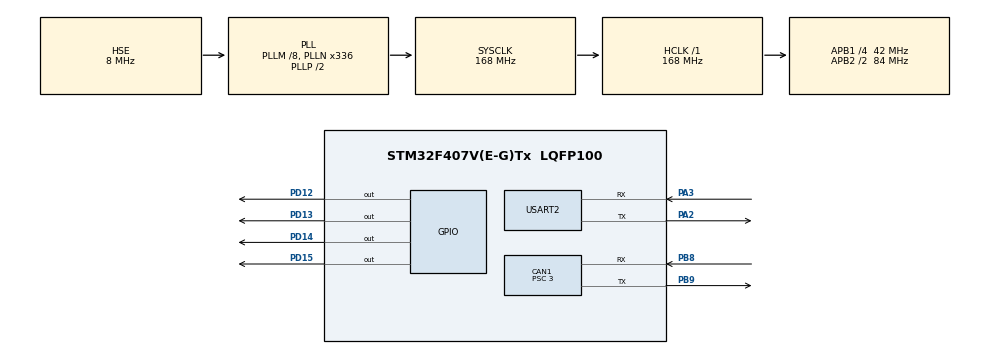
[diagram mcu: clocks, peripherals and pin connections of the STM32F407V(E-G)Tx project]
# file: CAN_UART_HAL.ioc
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CAN1.BS1=CAN_BS1_11TQ
CAN1.BS2=CAN_BS2_2TQ
CAN1.CalculateBaudRate=1000000
CAN1.CalculateTimeBit=1000
CAN1.CalculateTimeQuantum=71.42857142857143
CAN1.NART=ENABLE
CAN1.Prescaler=3
Mcu.Family=STM32F4
Mcu.Name=STM32F407V(E-G)Tx
Mcu.Package=LQFP100
NVIC.CAN1_RX0_IRQn=true\:0\:2\:false\:false\:true\:true\:true
NVIC.PriorityGroup=NVIC_PRIORITYGROUP_0
NVIC.USART2_IRQn=true\:0\:0\:false\:false\:true\:true\:true
PA2.Mode=Asynchronous
PA2.Signal=USART2_TX
PA3.Mode=Asynchronous
PA3.Signal=USART2_RX
PB8.Mode=CAN_Activate
PB8.Signal=CAN1_RX
PB9.Mode=CAN_Activate
PB9.Signal=CAN1_TX
PD12.Signal=GPIO_Output
PD13.Signal=GPIO_Output
PD14.Signal=GPIO_Output
PD15.Signal=GPIO_Output
PH0-OSC_IN.Mode=HSE-External-Oscillator
PH0-OSC_IN.Signal=RCC_OSC_IN
PH1-OSC_OUT.Mode=HSE-External-Oscillator
PH1-OSC_OUT.Signal=RCC_OSC_OUT
ProjectManager.HeapSize=0x200
ProjectManager.StackSize=0x400
ProjectManager.TargetToolchain=MDK-ARM V5
RCC.48MHZClocksFreq_Value=48000000
RCC.AHBFreq_Value=168000000
RCC.APB1CLKDivider=RCC_HCLK_DIV4
RCC.APB1Freq_Value=42000000
RCC.APB1TimFreq_Value=84000000
RCC.APB2CLKDivider=RCC_HCLK_DIV2
RCC.APB2Freq_Value=84000000
RCC.APB2TimFreq_Value=168000000
RCC.CortexFreq_Value=168000000
RCC.HCLKFreq_Value=168000000
RCC.HSE_VALUE=8000000
RCC.HSI_VALUE=16000000
RCC.LSE_VALUE=32768
RCC.PLLM=8
RCC.PLLN=336
RCC.PLLQ=7
RCC.PLLSourceVirtual=RCC_PLLSOURCE_HSE
RCC.SYSCLKFreq_VALUE=168000000
RCC.SYSCLKSource=RCC_SYSCLKSOURCE_PLLCLK
RCC.VCOOutputFreq_Value=336000000
USART2.VirtualMode=VM_ASYNC
board=STM32F407G-DISC1

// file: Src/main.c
/* USER CODE BEGIN Header */
/**
  ******************************************************************************
  * @file           : main.c
  * @brief          : Main program body
  ******************************************************************************
  * @attention
  *
  * <h2><center>&copy; Copyright (c) 2021 STMicroelectronics.
  * All rights reserved.</center></h2>
  *
  * This software component is licensed by ST under BSD 3-Clause license,
  * the "License"; You may not use this file except in compliance with the
  * License. You may obtain a copy of the License at:
  *                        opensource.org/licenses/BSD-3-Clause
  *
  ******************************************************************************
  */
/* USER CODE END Header */
#include "main.h"

/* USER CODE BEGIN Includes */
#include "math.h"
/* USER CODE END Includes */

UART_HandleTypeDef huart2;

/* USER CODE BEGIN PV */
CAN_HandleTypeDef hcan1;
CAN_TxHeaderTypeDef TxHeader; //declare a specific header for message transmitions
CAN_RxHeaderTypeDef RxHeader; //declare header for message reception
uint32_t TxMailbox;

/*uint8_t TxData[5];
uint8_t RxData[5];*/

uint8_t TxData[7];

uint8_t RxData[7];

uint8_t Data[2];
double time;
uint16_t temp;
uint8_t temp2[1];

uint8_t flag=0;

uint16_t checksum;

CAN_FilterTypeDef sFilterConfig; //declare CAN filter structure
/* USER CODE END PV */

void SystemClock_Config(void);
static void MX_GPIO_Init(void);
static void MX_CAN1_Init(void);
static void MX_USART2_UART_Init(void);
/* USER CODE BEGIN PFP */
void CAN_Tx(uint8_t *Data);
/* USER CODE END PFP */

int main(void)
{

  /* MCU Configuration--------------------------------------------------------*/

  /* Reset of all peripherals, Initializes the Flash interface and the Systick. */
  HAL_Init();

  /* Configure the system clock */
  SystemClock_Config();

  /* Initialize all configured peripherals */
  MX_GPIO_Init();
  MX_CAN1_Init();
  MX_USART2_UART_Init();
  /* USER CODE BEGIN 2 */
	HAL_UART_Receive_IT (&huart2, RxData, 2);

//	TxHeader.DLC=7; //give message size of 1 byte
//	TxHeader.IDE=CAN_ID_STD; //set identifier to standard
//	TxHeader.RTR=CAN_RTR_DATA; //set data type to remote transmission request?
//	TxHeader.StdId=0x245; //define a standard identifier, used for message identification by filters (switch this for the other microcontroller)
//	TxHeader.StdId=10;

	//filter one (stack light blink)
	//sFilterConfig.FilterFIFOAssignment=CAN_FILTER_FIFO0; //set fifo assignment
	//sFilterConfig.FilterIdHigh=10<<5; //the ID that the filter looks for (switch this for the other microcontroller)
	//sFilterConfig.FilterIdLow=0;
	//sFilterConfig.FilterMaskIdHigh=0;
	//sFilterConfig..FilterMaskIdLow=0;
	//sFilterConfig.FilterScale=CAN_FILTERSCALE_32BIT; //set filter scale
	//sFilterConfig.FilterActivation=ENABLE;

	sFilterConfig.FilterActivation = CAN_FILTER_ENABLE;
  sFilterConfig.FilterBank = 18;  // which filter bank to use from the assigned ones
  sFilterConfig.FilterFIFOAssignment = CAN_FILTER_FIFO0;
  sFilterConfig.FilterIdHigh = 10<<5;
  sFilterConfig.FilterIdLow = 0;
  sFilterConfig.FilterMaskIdHigh = 0xA<<5;
  sFilterConfig.FilterMaskIdLow = 0x0000;
  sFilterConfig.FilterMode = CAN_FILTERMODE_IDMASK;
  sFilterConfig.FilterScale = CAN_FILTERSCALE_32BIT;
  sFilterConfig.SlaveStartFilterBank = 20;  // how many filters to assign to the CAN1 (master can)

	HAL_CAN_ConfigFilter(&hcan1, &sFilterConfig); //configure CAN filter

	HAL_CAN_Start(&hcan1); //start CAN

	HAL_CAN_ActivateNotification(&hcan1, CAN_IT_RX_FIFO0_MSG_PENDING); //enable interrupts

//  TxData[0]='P';
//	TxData[1]='W';
//	TxData[2]='M';

//  TxData[0]=0x80;
//	TxData[1]=0x87;
//	TxData[2]=0x77;

//	TxData[0]=0x80;
//	TxData[1]=0x87;
//	TxData[2]=0x77;
  /* USER CODE END 2 */

  /* Infinite loop */
  /* USER CODE BEGIN WHILE */
  while (1)
  {
		time =HAL_GetTick();
		temp=(uint16_t)(sin(time/500)*500 + 1500);
		Data[0]= temp>>8;
		Data[1]= (uint8_t)(temp&0xFF);

//		if(HAL_CAN_GetTxMailboxesFreeLevel(&hcan1)>0)
//		{
		CAN_Tx(Data);
		HAL_Delay(1);
//		}
//		else{
//		HAL_GPIO_TogglePin(GPIOD, GPIO_PIN_12);
//		}
//		temp2[0]=HAL_CAN_GetTxMailboxesFreeLevel(&hcan1);
//		HAL_UART_Transmit(&huart2, temp2, sizeof(temp2), 10);

//		if(flag==0)
//		{
//		Data[0]=0x05;
//		Data[1]=0xDC;

//		CAN_Tx(Data);
//		}
//
//		if(flag==1)
//		{
//		Data[0]=0x03;
//		Data[1]=0x84;
//		CAN_Tx(Data);
//		}
//		HAL_Delay(50);
//		if(flag==0)
//			flag=1;
//		else
//			flag=0;

    /* USER CODE END WHILE */

  }
}

void SystemClock_Config(void)
{
  RCC_OscInitTypeDef RCC_OscInitStruct = {0};
  RCC_ClkInitTypeDef RCC_ClkInitStruct = {0};

  /** Configure the main internal regulator output voltage
  */
  __HAL_RCC_PWR_CLK_ENABLE();
  __HAL_PWR_VOLTAGESCALING_CONFIG(PWR_REGULATOR_VOLTAGE_SCALE1);
  /** Initializes the RCC Oscillators according to the specified parameters
  * in the RCC_OscInitTypeDef structure.
  */
  RCC_OscInitStruct.OscillatorType = RCC_OSCILLATORTYPE_HSE;
  RCC_OscInitStruct.HSEState = RCC_HSE_ON;
  RCC_OscInitStruct.PLL.PLLState = RCC_PLL_ON;
  RCC_OscInitStruct.PLL.PLLSource = RCC_PLLSOURCE_HSE;
  RCC_OscInitStruct.PLL.PLLM = 8;
  RCC_OscInitStruct.PLL.PLLN = 336;
  RCC_OscInitStruct.PLL.PLLP = RCC_PLLP_DIV2;
  RCC_OscInitStruct.PLL.PLLQ = 7;
  if (HAL_RCC_OscConfig(&RCC_OscInitStruct) != HAL_OK)
  {
    Error_Handler();
  }
  /** Initializes the CPU, AHB and APB buses clocks
  */
  RCC_ClkInitStruct.ClockType = RCC_CLOCKTYPE_HCLK|RCC_CLOCKTYPE_SYSCLK
                              |RCC_CLOCKTYPE_PCLK1|RCC_CLOCKTYPE_PCLK2;
  RCC_ClkInitStruct.SYSCLKSource = RCC_SYSCLKSOURCE_PLLCLK;
  RCC_ClkInitStruct.AHBCLKDivider = RCC_SYSCLK_DIV1;
  RCC_ClkInitStruct.APB1CLKDivider = RCC_HCLK_DIV4;
  RCC_ClkInitStruct.APB2CLKDivider = RCC_HCLK_DIV2;

  if (HAL_RCC_ClockConfig(&RCC_ClkInitStruct, FLASH_LATENCY_5) != HAL_OK)
  {
    Error_Handler();
  }
}

static void MX_CAN1_Init(void)
{
  hcan1.Instance = CAN1;
  hcan1.Init.Mode = CAN_MODE_NORMAL;
	hcan1.Init.Prescaler = 3;
  hcan1.Init.SyncJumpWidth = CAN_SJW_1TQ;
	hcan1.Init.TimeSeg1 = CAN_BS1_11TQ;
	hcan1.Init.TimeSeg2 = CAN_BS2_2TQ;
  hcan1.Init.TimeTriggeredMode = DISABLE;
  hcan1.Init.AutoBusOff = DISABLE;
  hcan1.Init.AutoWakeUp = DISABLE;
	hcan1.Init.AutoRetransmission = ENABLE;
  hcan1.Init.ReceiveFifoLocked = DISABLE;
  hcan1.Init.TransmitFifoPriority = DISABLE;
  if (HAL_CAN_Init(&hcan1) != HAL_OK)
  {
    Error_Handler();
  }
}

static void MX_USART2_UART_Init(void)
{

  huart2.Instance = USART2;
  huart2.Init.BaudRate = 115200;
  huart2.Init.WordLength = UART_WORDLENGTH_8B;
  huart2.Init.StopBits = UART_STOPBITS_1;
  huart2.Init.Parity = UART_PARITY_NONE;
  huart2.Init.Mode = UART_MODE_TX_RX;
  huart2.Init.HwFlowCtl = UART_HWCONTROL_NONE;
  huart2.Init.OverSampling = UART_OVERSAMPLING_16;
  if (HAL_UART_Init(&huart2) != HAL_OK)
  {
    Error_Handler();
  }

}

static void MX_GPIO_Init(void)
{
  GPIO_InitTypeDef GPIO_InitStruct = {0};

  /* GPIO Ports Clock Enable */
  __HAL_RCC_GPIOH_CLK_ENABLE();
  __HAL_RCC_GPIOA_CLK_ENABLE();
  __HAL_RCC_GPIOD_CLK_ENABLE();
  __HAL_RCC_GPIOB_CLK_ENABLE();

  /*Configure GPIO pin Output Level */
  HAL_GPIO_WritePin(GPIOD, GPIO_PIN_12|GPIO_PIN_13|GPIO_PIN_14|GPIO_PIN_15, GPIO_PIN_RESET);

  /*Configure GPIO pins : PD12 PD13 PD14 PD15 */
  GPIO_InitStruct.Pin = GPIO_PIN_12|GPIO_PIN_13|GPIO_PIN_14|GPIO_PIN_15;
  GPIO_InitStruct.Mode = GPIO_MODE_OUTPUT_PP;
  GPIO_InitStruct.Pull = GPIO_NOPULL;
  GPIO_InitStruct.Speed = GPIO_SPEED_FREQ_LOW;
  HAL_GPIO_Init(GPIOD, &GPIO_InitStruct);

}

/* USER CODE BEGIN 4 */
void HAL_UART_RxCpltCallback(UART_HandleTypeDef *huart)
{
//	//HAL_UART_Receive_IT(&huart2, RxData, 2);
////for(int i=3;i<7;i++){
////	TxData[i]=RxData[i];
////}
//	TxData[0]=0x80;
//	TxData[1]=0x87;
//	TxData[2]=0x77;
//
//  TxData[3]=RxData[0];
//	TxData[4]=RxData[1];
//
////	TxData[3]=0x08;
////	TxData[4]=0x34;
//
//	checksum= TxData[0]+TxData[1]+TxData[2]+TxData[3]+TxData[4];
//	TxData[5]=checksum>>8;
//	TxData[6]=(uint8_t)checksum;
//
////	TxData[0]=0x80;
////	TxData[1]=0x87;
////	TxData[2]=0x77;
//
////	TxData[3]=0x08;
////	TxData[4]=0x34;
////	TxData[5]=0x01;
////	TxData[6]=0xBA;
//
////	TxData[5]=0x01;
////	TxData[6]=0xBA;
//	//HAL_UART_Transmit(&huart2, TxData, sizeof(TxData), 10);
//		HAL_CAN_AddTxMessage(&hcan1, &TxHeader, TxData, &TxMailbox);  //function to add message for transmition
//
////		HAL_UART_Receive_IT(&huart2, RxData, 2);
    CAN_Tx(RxData);
		HAL_UART_Receive_IT (&huart2, RxData, 2);

}

void HAL_CAN_RxFifo0MsgPendingCallback(CAN_HandleTypeDef *hcan)
{
  if (HAL_CAN_GetRxMessage(&hcan1, CAN_RX_FIFO0, &RxHeader, RxData) != HAL_OK)
  {
    Error_Handler();
  }
	HAL_UART_Transmit(&huart2, RxData, sizeof(RxData), 100);
}

void CAN_Tx(uint8_t *Data)
{
	TxHeader.StdId=10;
	TxHeader.DLC=7; //give message size of 1 byte
	TxHeader.IDE=CAN_ID_STD; //set identifier to standard

	TxHeader.RTR=CAN_RTR_DATA; //set data type to remote transmission request?

  TxData[0]=0x80;
	TxData[1]=0x87;
	TxData[2]=0x77;

  TxData[3]=Data[0];
	TxData[4]=Data[1];

	checksum= TxData[0]+TxData[1]+TxData[2]+TxData[3]+TxData[4];
	TxData[5]=checksum>>8;
	TxData[6]=(uint8_t)checksum;
//	HAL_CAN_AddTxMessage(&hcan1, &TxHeader, TxData, &TxMailbox);

	if (HAL_CAN_AddTxMessage(&hcan1, &TxHeader, TxData, &TxMailbox) != HAL_OK)

	HAL_GPIO_WritePin(GPIOD, GPIO_PIN_13,GPIO_PIN_SET);

	while(HAL_CAN_IsTxMessagePending(&hcan1, TxMailbox));
}
/* USER CODE END 4 */

void Error_Handler(void)
{
  __disable_irq();
  while (1)
  {
  }
}

/************************ (C) COPYRIGHT STMicroelectronics *****END OF FILE****/
